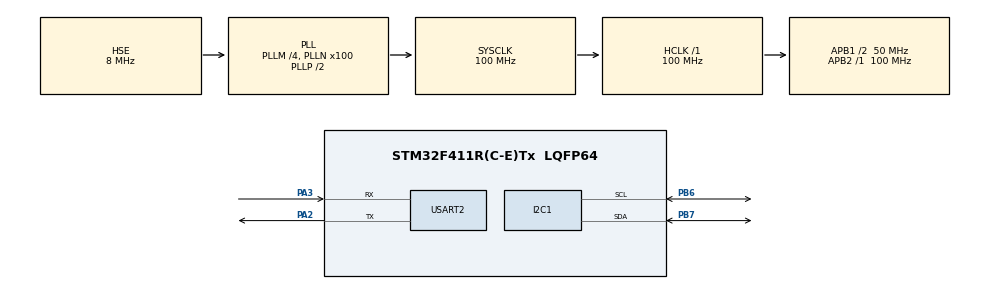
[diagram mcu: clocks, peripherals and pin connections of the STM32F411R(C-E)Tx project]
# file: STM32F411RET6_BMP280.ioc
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Mcu.Family=STM32F4
Mcu.Name=STM32F411R(C-E)Tx
Mcu.Package=LQFP64
NVIC.I2C1_ER_IRQn=true\:0\:0\:false\:false\:true\:true\:true\:true
NVIC.I2C1_EV_IRQn=true\:0\:0\:false\:false\:true\:true\:true\:true
NVIC.PriorityGroup=NVIC_PRIORITYGROUP_4
NVIC.USART2_IRQn=true\:0\:0\:false\:false\:true\:true\:true\:true
PA2.Mode=Asynchronous
PA2.Signal=USART2_TX
PA3.Mode=Asynchronous
PA3.Signal=USART2_RX
PB6.Mode=I2C
PB6.Signal=I2C1_SCL
PB7.Mode=I2C
PB7.Signal=I2C1_SDA
PH0\ -\ OSC_IN.Mode=HSE-External-Oscillator
PH0\ -\ OSC_IN.Signal=RCC_OSC_IN
PH1\ -\ OSC_OUT.Mode=HSE-External-Oscillator
PH1\ -\ OSC_OUT.Signal=RCC_OSC_OUT
ProjectManager.HeapSize=0x200
ProjectManager.StackSize=0x400
ProjectManager.TargetToolchain=STM32CubeIDE
RCC.48MHZClocksFreq_Value=50000000
RCC.AHBFreq_Value=100000000
RCC.APB1CLKDivider=RCC_HCLK_DIV2
RCC.APB1Freq_Value=50000000
RCC.APB1TimFreq_Value=100000000
RCC.APB2Freq_Value=100000000
RCC.APB2TimFreq_Value=100000000
RCC.CortexFreq_Value=100000000
RCC.HCLKFreq_Value=100000000
RCC.HSE_VALUE=8000000
RCC.HSI_VALUE=16000000
RCC.LSE_VALUE=32768
RCC.PLLM=4
RCC.PLLN=100
RCC.PLLSourceVirtual=RCC_PLLSOURCE_HSE
RCC.SYSCLKFreq_VALUE=100000000
RCC.SYSCLKSource=RCC_SYSCLKSOURCE_PLLCLK
RCC.VCOOutputFreq_Value=200000000
USART2.VirtualMode=VM_ASYNC
board=custom

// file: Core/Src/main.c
/* USER CODE BEGIN Header */
/**
 ******************************************************************************
 * @file           : main.c
 * @brief          : Main program body
 ******************************************************************************
 * @attention
 *
 * Copyright (c) 2024 STMicroelectronics.
 * All rights reserved.
 *
 * This software is licensed under terms that can be found in the LICENSE file
 * in the root directory of this software component.
 * If no LICENSE file comes with this software, it is provided AS-IS.
 *
 ******************************************************************************
 */
/* USER CODE END Header */
#include "main.h"

/* USER CODE BEGIN Includes */
#define PLATFORM_STM32_HAL
#include <sensors/BMP280.h>
#include <xuart.h>
#include <i2cscanner.h>

/* USER CODE END Includes */

I2C_HandleTypeDef hi2c1;

UART_HandleTypeDef huart2;

/* USER CODE BEGIN PV */
I2CPollingModeMaster i2c(&hi2c1);
UARTLogger logger(&huart2);

BMP280TemperatureOversampling t_osrs[] = {
        BMP280TemperatureOversampling::Skipped,
        BMP280TemperatureOversampling::UltraLowPower,
        BMP280TemperatureOversampling::LowPower,
        BMP280TemperatureOversampling::StandardResolution,
        BMP280TemperatureOversampling::HighResolution,
        BMP280TemperatureOversampling::UltraHighResolution, };
BMP280PressureOversampling p_osrs[] = { BMP280PressureOversampling::Skipped,
        BMP280PressureOversampling::UltraLowPower,
        BMP280PressureOversampling::LowPower,
        BMP280PressureOversampling::StandardResolution,
        BMP280PressureOversampling::HighResolution,
        BMP280PressureOversampling::UltraHighResolution, };
BMP280PowerMode power[] = { BMP280PowerMode::Sleep, BMP280PowerMode::Normal,
        BMP280PowerMode::Forced, BMP280PowerMode::Forced2, };
BMP280IIRFilterMode filter[] = { BMP280IIRFilterMode::FilterOff,
        BMP280IIRFilterMode::Filter2, BMP280IIRFilterMode::Filter4,
        BMP280IIRFilterMode::Filter8, BMP280IIRFilterMode::Filter16 };
const char *filterName[] = { "FilterOff", "Filter2", "Filter4", "Filter8",
        "Filter16" };
const char *powerName[] = { "Sleep", "Normal", "Forced", "Forced2", };
// both for T and P
const char *osName[] = { "Skipped", "UltraLowPower", "LowPower",
        "StandardResolution", "HighResolution", "UltraHighResolution", };
/* USER CODE END PV */

void SystemClock_Config(void);
static void MX_GPIO_Init(void);
static void MX_I2C1_Init(void);
static void MX_USART2_UART_Init(void);
/* USER CODE BEGIN PFP */
template<class TBMP280>
void printValue(TBMP280 &bmp)
{
    if (bmp.ready()) {
        int32_t t = 0;
        uint32_t p = 0;
        if (!bmp.readData(t, p)) {
            logger.writeLine("Unable to read P, T, error: %d",
                    (uint8_t) bmp.error());
        }
        else {
            float v = BMP280::mmhg<float>(p);
            logger.write("T=%d, P=%d.%02d mm hg, %d pa\r\n", (uint32_t) t,
                    (int) v, (int) (100 * v) % 100, p);
        }
    }
    else {
        logger.writeLine("Sensor not ready, error: %d", (uint8_t) bmp.error());
    }
}

template<class TBMP280>
void printInMode(TBMP280 &bmp, BMP280TemperatureOversampling t,
        BMP280PressureOversampling p, BMP280PowerMode m, BMP280IIRFilterMode f,
        const char *tosName, const char *posName, const char *modeName,
        const char *filterName)
{
    char buf[180];
    sprintf(buf, "T: %s, P: %s, M: %s, F: %s\r\n", tosName, posName, modeName,
            filterName);
    logger.write(buf);
    int n = 5; // 5 measurements
    int i = 0;
    if (!bmp.setTemperatureOversampling(t))
        logger.writeLine("Unable to set t_osrs, error: %d", (uint8_t) bmp.error());
    if (!bmp.setPressureOversampling(p))
        logger.writeLine("Unable to set p_osrs, error: %d", (uint8_t) bmp.error());
    if (!bmp.setPowerMode(m))
        logger.writeLine("Unable to set power mode, error: %d", (uint8_t) bmp.error());
    if (!bmp.setIIRFilter(f))
        logger.writeLine("Unable to set IIR filter, error: %d", (uint8_t) bmp.error());
    for (i = 0; i < n; i++) {
        Delay::wait(200); // wait after setting parameters above before getting values
        printValue(bmp);
    }
    Delay::wait(2000);
}
/* USER CODE END PFP */

int main(void)
{

    /* MCU Configuration--------------------------------------------------------*/

    /* Reset of all peripherals, Initializes the Flash interface and the Systick. */
    HAL_Init();

    /* Configure the system clock */
    SystemClock_Config();

    /* Initialize all configured peripherals */
    MX_GPIO_Init();
    MX_I2C1_Init();
    MX_USART2_UART_Init();
    /* USER CODE BEGIN 2 */
    // enumerate I2C devices:
    uint8_t ic = I2CScanner::enumerate(&hi2c1, [](auto addr) {
        logger.writeLine("I2C device found at address %#2X", addr);
    });
    logger.writeLine("%d I2C devices found", ic);

    logger.writeLine("Creating sensor instance");
    BMP280 bmp(&i2c);
    logger.writeLine("Initializing...");
    if (!bmp.init()) {
        logger.writeLine("Unable to initialize the sensor, error: %d",
                (uint8_t) bmp.error());
    }
    uint8_t cd = bmp.chipId();
    logger.writeLine("chipid=%#X", cd);
    if (cd == BMP280::INVALID_CHIP_ID)
        logger.writeLine("error=%d", (uint8_t) bmp.error());

    logger.writeLine("Setting F4 registry");
    if (!bmp.setOversamplingRegistry(
            BMP280TemperatureOversampling::StandardResolution,
            BMP280PressureOversampling::StandardResolution,
            BMP280PowerMode::Normal)) {
        logger.writeLine("Unable to set F4 register, error: %d",
                (uint8_t) bmp.error());
    }
    logger.writeLine("Setting t_standby");
    if (!bmp.setStandbyTime(BMP280StandbyTime::Standby_250)) {
        logger.writeLine("Unable to set t_standby, error: %d", (uint8_t) bmp.error());
    }
    logger.writeLine("Setting IRRFilter");
    if (!bmp.setIIRFilter(BMP280IIRFilterMode::FilterOff)) {
        logger.writeLine("Unable to set IIR filter, error: %d", (uint8_t) bmp.error());
    }
    logger.writeLine("First run:");
    Delay::wait(500);
    // print current settings
    printInMode(bmp, t_osrs[3], p_osrs[3], power[1], filter[0], osName[3],
            osName[3], powerName[1], filterName[0]);
    logger.writeLine("Starting main loop");
    /* USER CODE END 2 */

    /* Infinite loop */
    while (1) {

        /* USER CODE BEGIN 3 */
        // Set all possible values
        logger.writeLine("*** STARTING TEST SERIES ***");
        // 4 filer * 6 t_osrs * 6 p_osrs * 4 power = 720 variants
        for (uint8_t t = 0;
                t < sizeof(t_osrs) / sizeof(BMP280TemperatureOversampling);
                t++) {
            for (uint8_t p = 0;
                    p < sizeof(p_osrs) / sizeof(BMP280PressureOversampling);
                    p++) {
                for (uint8_t m = 0; m < sizeof(power) / sizeof(BMP280PowerMode);
                        m++) {
                    for (uint8_t f = 0;
                            f < sizeof(filter) / sizeof(BMP280IIRFilterMode);
                            f++) {
                        printInMode(bmp, t_osrs[t], p_osrs[p], power[m], filter[f], osName[t], osName[p],
                                powerName[m], filterName[f]);
                    }
                }
            }
        }
        logger.writeLine("*** END OF TEST SERIES ***");
        Delay::wait(2000);
    }
    /* USER CODE END 3 */
}

void SystemClock_Config(void)
{
    RCC_OscInitTypeDef RCC_OscInitStruct = { 0 };
    RCC_ClkInitTypeDef RCC_ClkInitStruct = { 0 };

    /** Configure the main internal regulator output voltage
     */
    __HAL_RCC_PWR_CLK_ENABLE();
    __HAL_PWR_VOLTAGESCALING_CONFIG(PWR_REGULATOR_VOLTAGE_SCALE1);

    /** Initializes the RCC Oscillators according to the specified parameters
     * in the RCC_OscInitTypeDef structure.
     */
    RCC_OscInitStruct.OscillatorType = RCC_OSCILLATORTYPE_HSE;
    RCC_OscInitStruct.HSEState = RCC_HSE_ON;
    RCC_OscInitStruct.PLL.PLLState = RCC_PLL_ON;
    RCC_OscInitStruct.PLL.PLLSource = RCC_PLLSOURCE_HSE;
    RCC_OscInitStruct.PLL.PLLM = 4;
    RCC_OscInitStruct.PLL.PLLN = 100;
    RCC_OscInitStruct.PLL.PLLP = RCC_PLLP_DIV2;
    RCC_OscInitStruct.PLL.PLLQ = 4;
    if (HAL_RCC_OscConfig(&RCC_OscInitStruct) != HAL_OK) {
        Error_Handler();
    }

    /** Initializes the CPU, AHB and APB buses clocks
     */
    RCC_ClkInitStruct.ClockType = RCC_CLOCKTYPE_HCLK | RCC_CLOCKTYPE_SYSCLK
            | RCC_CLOCKTYPE_PCLK1 | RCC_CLOCKTYPE_PCLK2;
    RCC_ClkInitStruct.SYSCLKSource = RCC_SYSCLKSOURCE_PLLCLK;
    RCC_ClkInitStruct.AHBCLKDivider = RCC_SYSCLK_DIV1;
    RCC_ClkInitStruct.APB1CLKDivider = RCC_HCLK_DIV2;
    RCC_ClkInitStruct.APB2CLKDivider = RCC_HCLK_DIV1;

    if (HAL_RCC_ClockConfig(&RCC_ClkInitStruct, FLASH_LATENCY_3) != HAL_OK) {
        Error_Handler();
    }
}

static void MX_I2C1_Init(void)
{

    hi2c1.Instance = I2C1;
    hi2c1.Init.ClockSpeed = 100000;
    hi2c1.Init.DutyCycle = I2C_DUTYCYCLE_2;
    hi2c1.Init.OwnAddress1 = 0;
    hi2c1.Init.AddressingMode = I2C_ADDRESSINGMODE_7BIT;
    hi2c1.Init.DualAddressMode = I2C_DUALADDRESS_DISABLE;
    hi2c1.Init.OwnAddress2 = 0;
    hi2c1.Init.GeneralCallMode = I2C_GENERALCALL_DISABLE;
    hi2c1.Init.NoStretchMode = I2C_NOSTRETCH_DISABLE;
    if (HAL_I2C_Init(&hi2c1) != HAL_OK) {
        Error_Handler();
    }

}

static void MX_USART2_UART_Init(void)
{

    huart2.Instance = USART2;
    huart2.Init.BaudRate = 115200;
    huart2.Init.WordLength = UART_WORDLENGTH_8B;
    huart2.Init.StopBits = UART_STOPBITS_1;
    huart2.Init.Parity = UART_PARITY_NONE;
    huart2.Init.Mode = UART_MODE_TX_RX;
    huart2.Init.HwFlowCtl = UART_HWCONTROL_NONE;
    huart2.Init.OverSampling = UART_OVERSAMPLING_16;
    if (HAL_UART_Init(&huart2) != HAL_OK) {
        Error_Handler();
    }

}

static void MX_GPIO_Init(void)
{

    /* GPIO Ports Clock Enable */
    __HAL_RCC_GPIOH_CLK_ENABLE();
    __HAL_RCC_GPIOA_CLK_ENABLE();
    __HAL_RCC_GPIOB_CLK_ENABLE();

}

void Error_Handler(void)
{
    __disable_irq();
    while (1) {
    }
}
